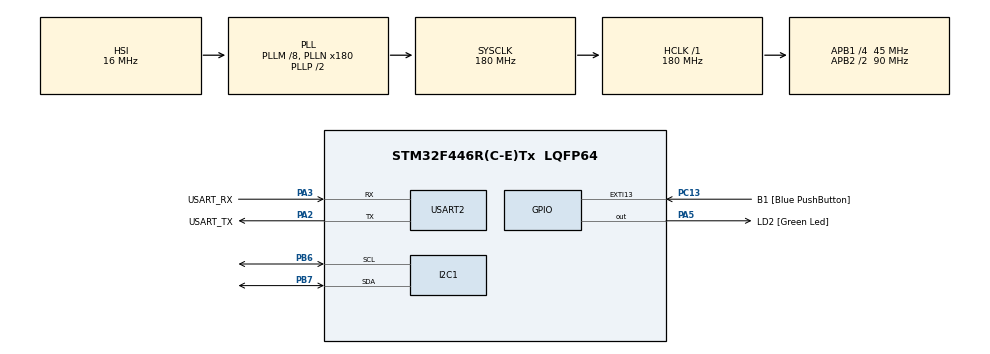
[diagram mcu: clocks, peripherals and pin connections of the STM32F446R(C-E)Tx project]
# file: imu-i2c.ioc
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I2C1.I2C_Mode=I2C_Fast
Mcu.Family=STM32F4
Mcu.Name=STM32F446R(C-E)Tx
Mcu.Package=LQFP64
NVIC.PriorityGroup=NVIC_PRIORITYGROUP_0
PA13.GPIO_Label=TMS
PA13.Mode=Serial_Wire
PA13.Signal=SYS_JTMS-SWDIO
PA14.GPIO_Label=TCK
PA14.Mode=Serial_Wire
PA14.Signal=SYS_JTCK-SWCLK
PA2.GPIO_Label=USART_TX
PA2.Mode=Asynchronous
PA2.Signal=USART2_TX
PA3.GPIO_Label=USART_RX
PA3.Mode=Asynchronous
PA3.Signal=USART2_RX
PA5.GPIO_Label=LD2 [Green Led]
PA5.Signal=GPIO_Output
PB3.GPIO_Label=SWO
PB3.Signal=SYS_JTDO-SWO
PB6.Mode=I2C
PB6.Signal=I2C1_SCL
PB7.Mode=I2C
PB7.Signal=I2C1_SDA
PC13.GPIO_Label=B1 [Blue PushButton]
PC13.GPIO_ModeDefaultEXTI=GPIO_MODE_IT_FALLING
PC13.Signal=GPXTI13
PC14-OSC32_IN.Mode=LSE-External-Oscillator
PC14-OSC32_IN.Signal=RCC_OSC32_IN
PC15-OSC32_OUT.Mode=LSE-External-Oscillator
PC15-OSC32_OUT.Signal=RCC_OSC32_OUT
PH0-OSC_IN.Mode=HSE-External-Oscillator
PH0-OSC_IN.Signal=RCC_OSC_IN
PH1-OSC_OUT.Mode=HSE-External-Oscillator
PH1-OSC_OUT.Signal=RCC_OSC_OUT
ProjectManager.HeapSize=0x200
ProjectManager.StackSize=0x400
ProjectManager.TargetToolchain=STM32CubeIDE
RCC.48MHZClocksFreq_Value=180000000
RCC.AHBFreq_Value=180000000
RCC.APB1CLKDivider=RCC_HCLK_DIV4
RCC.APB1Freq_Value=45000000
RCC.APB1TimFreq_Value=90000000
RCC.APB2CLKDivider=RCC_HCLK_DIV2
RCC.APB2Freq_Value=90000000
RCC.APB2TimFreq_Value=180000000
RCC.CortexFreq_Value=180000000
RCC.FLatency-AdvancedSettings=FLASH_LATENCY_5
RCC.HCLKFreq_Value=180000000
RCC.HSE_VALUE=8000000
RCC.HSI_VALUE=16000000
RCC.PLLM=8
RCC.PLLN=180
RCC.PLLP=RCC_PLLP_DIV2
RCC.SYSCLKFreq_VALUE=180000000
RCC.SYSCLKSource=RCC_SYSCLKSOURCE_PLLCLK
RCC.USBFreq_Value=180000000
RCC.VCOOutputFreq_Value=360000000
USART2.VirtualMode=VM_ASYNC
board=NUCLEO-F446RE

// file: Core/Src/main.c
/* USER CODE BEGIN Header */
/**
  ******************************************************************************
  * @file           : main.c
  * @brief          : Main program body
  ******************************************************************************
  * @attention
  *
  * Copyright (c) 2026 STMicroelectronics.
  * All rights reserved.
  *
  * This software is licensed under terms that can be found in the LICENSE file
  * in the root directory of this software component.
  * If no LICENSE file comes with this software, it is provided AS-IS.
  *
  ******************************************************************************
  */
/* USER CODE END Header */
#include "main.h"
#include "i2c.h"
#include "usart.h"
#include "gpio.h"

/* USER CODE BEGIN Includes */
#include "lsm6dso32_reg.h"
#include "lsm6dso32_port.h"
#include <stdio.h>
/* USER CODE END Includes */

/* USER CODE BEGIN PD */
#define IMU_BOOT_TIME_MS     35  // Turn-on time
#define TX_BUF_SIZE          96  // Enough for one CSV line
#define LED_BLINK_DIV        52  // Samples per LD2 toggle (~1 Hz blink at 104 Hz ODR)
#define IMU_RESET_TIMEOUT_MS 100 // Ceiling on the software-reset flag poll

/* USER CODE END PD */

/* USER CODE BEGIN PV */
static lsm6dso32_i2c_bus_t imu_bus = { &hi2c1, LSM6DSO32_I2C_ADD_L };
static stmdev_ctx_t imu;
/* USER CODE END PV */

void SystemClock_Config(void);
/* USER CODE BEGIN PFP */
static void imu_init(void);
static void imu_stream(void);
/* USER CODE END PFP */

/* USER CODE BEGIN 0 */

/**
  * @brief  Brings the LSM6DSO32 up on I2C1: confirms the sensor is responsive,
  *         restores a known register state, keeps the bus on I2C, then sets
  *         the output ranges and data rates.
  * @retval None (traps in Error_Handler if the sensor does not respond)
  */
static void imu_init(void)
{
  uint8_t whoami;
  uint8_t rst;

  imu = lsm6dso32_i2c_ctx(&imu_bus);

  /* Allow sensor turn-on time before the first transaction */
  HAL_Delay(IMU_BOOT_TIME_MS);

  /* Catch absent or wrong sensor ID */
  if (lsm6dso32_device_id_get(&imu, &whoami) != 0 || whoami != LSM6DSO32_ID)
    Error_Handler();

  /* Software reset, then wait for sensor to clear the flag */
  lsm6dso32_reset_set(&imu, PROPERTY_ENABLE);

  uint32_t reset_start = HAL_GetTick();

  do {
    if (lsm6dso32_reset_get(&imu, &rst) != 0 ||
        HAL_GetTick() - reset_start > IMU_RESET_TIMEOUT_MS) {
      const char err[] = "IMU software reset did not complete\r\n";
      HAL_UART_Transmit(&huart2, (uint8_t *)err, sizeof(err) - 1, HAL_MAX_DELAY);
      Error_Handler();
    }
  } while (rst);

  /* Keep the I2C interface live */
  lsm6dso32_i2c_interface_set(&imu, LSM6DSO32_I2C_ENABLE);

  /* Output registers are not updated until both MSB and LSB have been read */
  lsm6dso32_block_data_update_set(&imu, PROPERTY_ENABLE);

  /* Measurement ranges */
  lsm6dso32_xl_full_scale_set(&imu, LSM6DSO32_16g);
  lsm6dso32_gy_full_scale_set(&imu, LSM6DSO32_2000dps);

  /* Output data rates */
  lsm6dso32_xl_data_rate_set(&imu, LSM6DSO32_XL_ODR_104Hz_HIGH_PERF);
  lsm6dso32_gy_data_rate_set(&imu, LSM6DSO32_GY_ODR_104Hz_HIGH_PERF);
}

/**
  * @brief  Polls the data-ready flags and sends one CSV sample per new
  *         reading. Returns immediately when nothing fresh is waiting, so
  *         the caller sets the pace, not this function.
  *
  *         Line format, one per sample:
  *           t_ms,ax_mg,ay_mg,az_mg,gx_mdps,gy_mdps,gz_mdps
  * @retval None
  */
static void imu_stream(void)
{
  uint8_t xl_ready = 0;
  uint8_t gy_ready = 0;
  int16_t raw_xl[3];
  int16_t raw_gy[3];
  char line[TX_BUF_SIZE];

  lsm6dso32_xl_flag_data_ready_get(&imu, &xl_ready);
  lsm6dso32_gy_flag_data_ready_get(&imu, &gy_ready);

  if (!xl_ready || !gy_ready)
    return;

  lsm6dso32_acceleration_raw_get(&imu, raw_xl);
  lsm6dso32_angular_rate_raw_get(&imu, raw_gy);

  /* Scale helpers must match the ranges set in IMU_Init. Values are kept in
     mg / mdps as integers so the line needs no float formatting */
  int len = snprintf(line, sizeof(line),
                     "%lu,%ld,%ld,%ld,%ld,%ld,%ld\n",
                     (unsigned long)HAL_GetTick(),
                     (long)lsm6dso32_from_fs16_to_mg(raw_xl[0]),
                     (long)lsm6dso32_from_fs16_to_mg(raw_xl[1]),
                     (long)lsm6dso32_from_fs16_to_mg(raw_xl[2]),
                     (long)lsm6dso32_from_fs2000_to_mdps(raw_gy[0]),
                     (long)lsm6dso32_from_fs2000_to_mdps(raw_gy[1]),
                     (long)lsm6dso32_from_fs2000_to_mdps(raw_gy[2]));

  HAL_UART_Transmit(&huart2, (uint8_t *)line, len, HAL_MAX_DELAY);

  /* Heartbeat on LD2, divided down to a visible rate.
     Blinking means samples are still going out; solid or dark means the stream stopped */
  static uint16_t led_div;

  if (++led_div >= LED_BLINK_DIV) {
    led_div = 0;
    HAL_GPIO_TogglePin(LD2_GPIO_Port, LD2_Pin);
  }
}

/* USER CODE END 0 */

int main(void)
{

  /* MCU Configuration--------------------------------------------------------*/

  /* Reset of all peripherals, Initializes the Flash interface and the Systick. */
  HAL_Init();

  /* Configure the system clock */
  SystemClock_Config();

  /* Initialize all configured peripherals */
  MX_GPIO_Init();
  MX_USART2_UART_Init();
  MX_I2C1_Init();
  /* USER CODE BEGIN 2 */
  imu_init();

  const char header[] = "t_ms,ax_mg,ay_mg,az_mg,gx_mdps,gy_mdps,gz_mdps\n";
  HAL_UART_Transmit(&huart2, (uint8_t *)header, sizeof(header) - 1, HAL_MAX_DELAY);
  /* USER CODE END 2 */

  /* Infinite loop */
  while (1)
  {

    /* USER CODE BEGIN 3 */
    imu_stream();
  }
  /* USER CODE END 3 */
}

void SystemClock_Config(void)
{
  RCC_OscInitTypeDef RCC_OscInitStruct = {0};
  RCC_ClkInitTypeDef RCC_ClkInitStruct = {0};

  /** Configure the main internal regulator output voltage
  */
  __HAL_RCC_PWR_CLK_ENABLE();
  __HAL_PWR_VOLTAGESCALING_CONFIG(PWR_REGULATOR_VOLTAGE_SCALE1);

  /** Initializes the RCC Oscillators according to the specified parameters
  * in the RCC_OscInitTypeDef structure.
  */
  RCC_OscInitStruct.OscillatorType = RCC_OSCILLATORTYPE_HSI;
  RCC_OscInitStruct.HSIState = RCC_HSI_ON;
  RCC_OscInitStruct.HSICalibrationValue = RCC_HSICALIBRATION_DEFAULT;
  RCC_OscInitStruct.PLL.PLLState = RCC_PLL_ON;
  RCC_OscInitStruct.PLL.PLLSource = RCC_PLLSOURCE_HSI;
  RCC_OscInitStruct.PLL.PLLM = 8;
  RCC_OscInitStruct.PLL.PLLN = 180;
  RCC_OscInitStruct.PLL.PLLP = RCC_PLLP_DIV2;
  RCC_OscInitStruct.PLL.PLLQ = 2;
  RCC_OscInitStruct.PLL.PLLR = 2;
  if (HAL_RCC_OscConfig(&RCC_OscInitStruct) != HAL_OK)
  {
    Error_Handler();
  }

  /** Activate the Over-Drive mode
  */
  if (HAL_PWREx_EnableOverDrive() != HAL_OK)
  {
    Error_Handler();
  }

  /** Initializes the CPU, AHB and APB buses clocks
  */
  RCC_ClkInitStruct.ClockType = RCC_CLOCKTYPE_HCLK|RCC_CLOCKTYPE_SYSCLK
                              |RCC_CLOCKTYPE_PCLK1|RCC_CLOCKTYPE_PCLK2;
  RCC_ClkInitStruct.SYSCLKSource = RCC_SYSCLKSOURCE_PLLCLK;
  RCC_ClkInitStruct.AHBCLKDivider = RCC_SYSCLK_DIV1;
  RCC_ClkInitStruct.APB1CLKDivider = RCC_HCLK_DIV4;
  RCC_ClkInitStruct.APB2CLKDivider = RCC_HCLK_DIV2;

  if (HAL_RCC_ClockConfig(&RCC_ClkInitStruct, FLASH_LATENCY_5) != HAL_OK)
  {
    Error_Handler();
  }
}

void Error_Handler(void)
{
  __disable_irq();
  while (1)
  {
  }
}
